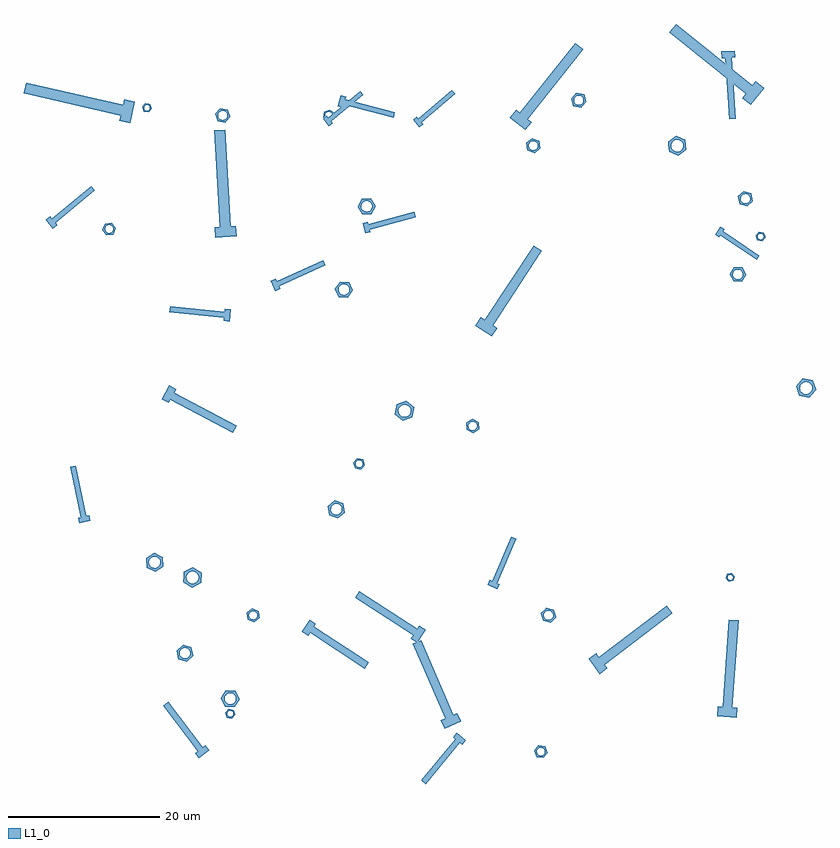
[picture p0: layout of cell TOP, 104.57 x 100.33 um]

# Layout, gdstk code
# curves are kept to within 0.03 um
from math import pi, radians
import gdstk
lib = gdstk.Library(unit=1e-6, precision=1e-09)
def P(c, l, *ps):  # polygons
    for p in ps: c.add(gdstk.Polygon(p, *l))
L1_0 = (1, 0)

nut = lib.new_cell('NUT')
P(nut, L1_0, [(-0.5,-0.866),(-1,0),(-0.654,0.6),(0,0.6),(-0.23,0.554),(-0.424,0.424),(-0.554,0.23),(-0.6,0),(-0.499,-0.333),(-0.333,-0.499),(-0.117,-0.588),(0.117,-0.588),(0.333,-0.499),(0.554,-0.23),(0.6,0),(0.499,0.333),(0.333,0.499),(0.117,0.588),(-0.654,0.6),(-0.5,0.866),(0.5,0.866),(1,0),(0.5,-0.866)])

bolt = lib.new_cell('BOLT')
P(bolt, L1_0, [(-1,-5),(-1,-4),(-0.5,-4),(-0.5,5),(0.5,5),(0.5,-4),(1,-4),(1,-5)])

top = lib.new_cell('TOP')
top.add(gdstk.Reference(nut, (23,13), rotation=radians(287.0621), magnification=0.668043))
top.add(gdstk.Reference(nut, (36,92), rotation=radians(260.331), magnification=0.789529))
top.add(gdstk.Reference(nut, (18,31), rotation=radians(27.3745), magnification=1.34611))
top.add(gdstk.Reference(bolt, (44,78), rotation=radians(285.1939), magnification=0.698021))
top.add(gdstk.Reference(bolt, (19,53), rotation=radians(241.9393), magnification=1.03622))
top.add(gdstk.Reference(bolt, (89,96), rotation=radians(183.819), magnification=0.902028))
top.add(gdstk.Reference(bolt, (51,7), rotation=radians(140.3609), magnification=0.783492))
top.add(gdstk.Reference(nut, (7,77), rotation=radians(5.7822), magnification=0.897724))
top.add(gdstk.Reference(bolt, (76,23), rotation=radians(307.1337), magnification=1.24428))
top.add(gdstk.Reference(bolt, (3,94), rotation=radians(77.0208), magnification=1.45401))
top.add(gdstk.Reference(nut, (38,69), rotation=radians(115.7285), magnification=1.18887))
top.add(gdstk.Reference(nut, (64,8), rotation=radians(231.7071), magnification=0.895825))
top.add(gdstk.Reference(bolt, (50,93), rotation=radians(310.4324), magnification=0.64537))
top.add(gdstk.Reference(bolt, (41,93), rotation=radians(255.6025), magnification=0.752062))
top.add(gdstk.Reference(bolt, (19,66), rotation=radians(84.1242), magnification=0.802705))
top.add(gdstk.Reference(bolt, (22,83), rotation=radians(3.2826), magnification=1.41537))
top.add(gdstk.Reference(nut, (63,88), rotation=radians(278.9136), magnification=1.00054))
top.add(gdstk.Reference(nut, (99,56), rotation=radians(169.5307), magnification=1.34567))
top.add(gdstk.Reference(nut, (55,51), rotation=radians(92.4642), magnification=0.957072))
top.add(gdstk.Reference(nut, (13,33), rotation=radians(273.369), magnification=1.2585))
top.add(gdstk.Reference(nut, (22,92), rotation=radians(169.0877), magnification=1.02952))
top.add(gdstk.Reference(bolt, (87,99), rotation=radians(51.1536), magnification=1.43709))
top.add(gdstk.Reference(bolt, (38,93), rotation=radians(309.2959), magnification=0.610617))
top.add(gdstk.Reference(bolt, (2,80), rotation=radians(309.5076), magnification=0.749379))
top.add(gdstk.Reference(nut, (90,71), rotation=radians(358.2271), magnification=1.08819))
top.add(gdstk.Reference(bolt, (44,26), rotation=radians(56.9212), magnification=1.01265))
top.add(gdstk.Reference(nut, (89,31), rotation=radians(310.272), magnification=0.605345))
top.add(gdstk.Reference(nut, (17,21), rotation=radians(222.3734), magnification=1.15992))
top.add(gdstk.Reference(bolt, (17,11), rotation=radians(37.1152), magnification=0.837312))
top.add(gdstk.Reference(nut, (12,93), rotation=radians(290.3424), magnification=0.65267))
top.add(gdstk.Reference(nut, (40,46), rotation=radians(167.7955), magnification=0.790784))
top.add(gdstk.Reference(nut, (37,40), rotation=radians(99.2945), magnification=1.20691))
top.add(gdstk.Reference(nut, (65,26), rotation=radians(345.2827), magnification=1.02819))
top.add(gdstk.Reference(nut, (26,26), rotation=radians(217.726), magnification=0.921056))
top.add(gdstk.Reference(bolt, (59,33), rotation=radians(336.8376), magnification=0.710605))
top.add(gdstk.Reference(bolt, (50,17), rotation=radians(23.4199), magnification=1.19177))
top.add(gdstk.Reference(nut, (93,76), rotation=radians(229.9054), magnification=0.668932))
top.add(gdstk.Reference(bolt, (3,42), rotation=radians(12.1831), magnification=0.753464))
top.add(gdstk.Reference(nut, (91,81), rotation=radians(222.5786), magnification=1.04325))
top.add(gdstk.Reference(nut, (82,88), rotation=radians(35.381), magnification=1.32993))
top.add(gdstk.Reference(bolt, (90,75), rotation=radians(235.8605), magnification=0.640645))
top.add(gdstk.Reference(nut, (23,15), rotation=radians(117.6816), magnification=1.24078))
top.add(gdstk.Reference(bolt, (89,19), rotation=radians(355.9636), magnification=1.28389))
top.add(gdstk.Reference(bolt, (60,69), rotation=radians(326.7114), magnification=1.30619))
top.add(gdstk.Reference(bolt, (65,96), rotation=radians(321.4377), magnification=1.3065))
top.add(gdstk.Reference(nut, (46,53), rotation=radians(260.2495), magnification=1.35574))
top.add(gdstk.Reference(bolt, (37,22), rotation=radians(236.9008), magnification=0.959919))
top.add(gdstk.Reference(nut, (41,80), rotation=radians(241.576), magnification=1.19447))
top.add(gdstk.Reference(bolt, (32,71), rotation=radians(294.2719), magnification=0.743393))
top.add(gdstk.Reference(nut, (69,94), rotation=radians(167.6473), magnification=1.03811))

lib.write_gds('TOP.gds')
